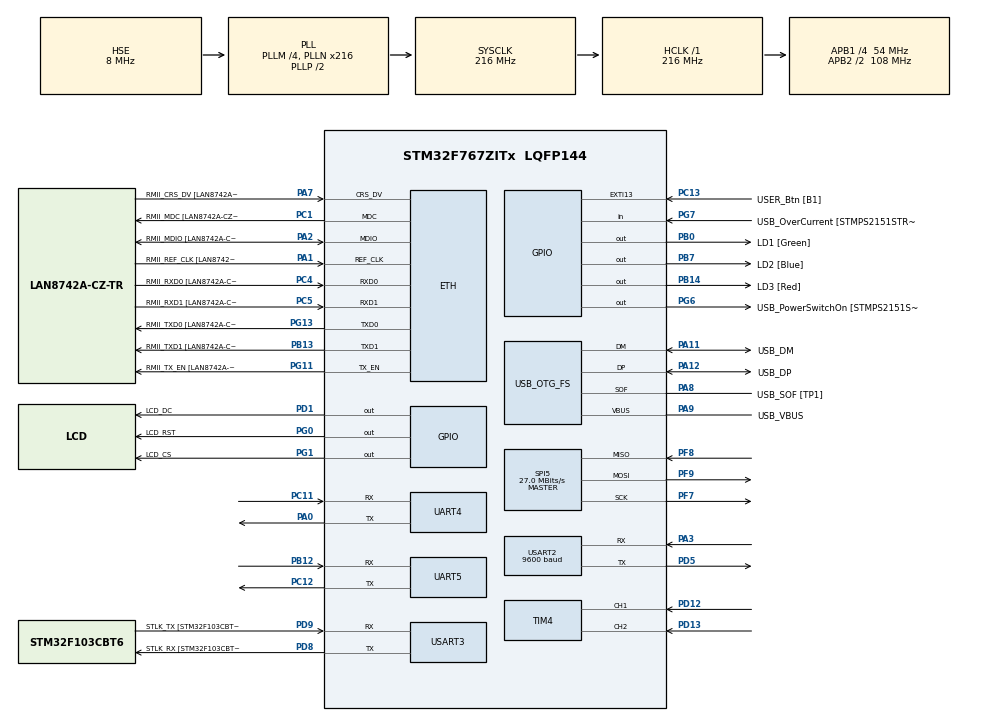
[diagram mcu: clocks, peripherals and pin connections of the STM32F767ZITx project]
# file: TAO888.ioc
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Dma.Request0=SPI5_TX
Dma.SPI5_TX.0.Direction=DMA_MEMORY_TO_PERIPH
Dma.SPI5_TX.0.FIFOMode=DMA_FIFOMODE_DISABLE
Dma.SPI5_TX.0.Instance=DMA2_Stream4
Dma.SPI5_TX.0.MemDataAlignment=DMA_MDATAALIGN_HALFWORD
Dma.SPI5_TX.0.MemInc=DMA_MINC_ENABLE
Dma.SPI5_TX.0.Mode=DMA_NORMAL
Dma.SPI5_TX.0.PeriphDataAlignment=DMA_PDATAALIGN_HALFWORD
Dma.SPI5_TX.0.PeriphInc=DMA_PINC_DISABLE
Dma.SPI5_TX.0.Priority=DMA_PRIORITY_LOW
ETH.MediaInterface=HAL_ETH_RMII_MODE
ETH.PHY_Name=LAN8742A_PHY_ADDRESS
ETH.PHY_Value=0
ETH.PhyAddress=0
Mcu.Family=STM32F7
Mcu.Name=STM32F767ZITx
Mcu.Package=LQFP144
NVIC.DMA2_Stream4_IRQn=true\:0\:0\:false\:false\:true\:false\:true\:true
NVIC.EXTI15_10_IRQn=true\:7\:0\:true\:false\:true\:true\:true\:true
NVIC.PriorityGroup=NVIC_PRIORITYGROUP_3
NVIC.SPI5_IRQn=true\:5\:0\:true\:false\:true\:true\:true\:true
NVIC.TIM2_IRQn=true\:2\:0\:true\:false\:true\:true\:true\:true
NVIC.TIM5_IRQn=true\:2\:0\:true\:false\:true\:true\:true\:true
NVIC.UART4_IRQn=true\:6\:0\:true\:false\:true\:true\:true\:true
NVIC.USART2_IRQn=true\:6\:0\:true\:false\:true\:true\:true\:true
NVIC.USART3_IRQn=true\:6\:0\:true\:false\:true\:true\:true\:true
PA0/WKUP.Mode=Asynchronous
PA0/WKUP.Signal=UART4_TX
PA1.GPIO_Label=RMII_REF_CLK [LAN8742A-CZ-TR_REFCLK0]
PA1.Mode=RMII
PA1.Signal=ETH_REF_CLK
PA10.GPIO_Label=USB_ID
PA10.Signal=USB_OTG_FS_ID
PA11.GPIO_Label=USB_DM
PA11.Mode=Device_Only
PA11.Signal=USB_OTG_FS_DM
PA12.GPIO_Label=USB_DP
PA12.Mode=Device_Only
PA12.Signal=USB_OTG_FS_DP
PA13.GPIO_Label=TMS
PA13.Mode=Serial_Wire
PA13.Signal=SYS_JTMS-SWDIO
PA14.GPIO_Label=TCK
PA14.Mode=Serial_Wire
PA14.Signal=SYS_JTCK-SWCLK
PA2.GPIO_Label=RMII_MDIO [LAN8742A-CZ-TR_MDIO]
PA2.Mode=RMII
PA2.Signal=ETH_MDIO
PA3.Mode=Asynchronous
PA3.Signal=USART2_RX
PA7.GPIO_Label=RMII_CRS_DV [LAN8742A-CZ-TR_CRS_DV]
PA7.Mode=RMII
PA7.Signal=ETH_CRS_DV
PA8.GPIO_Label=USB_SOF [TP1]
PA8.Mode=Activate_SOF_FS
PA8.Signal=USB_OTG_FS_SOF
PA9.GPIO_Label=USB_VBUS
PA9.Mode=Activate_VBUS
PA9.Signal=USB_OTG_FS_VBUS
PB0.GPIO_Label=LD1 [Green]
PB0.Signal=GPIO_Output
PB12.Mode=Asynchronous
PB12.Signal=UART5_RX
PB13.GPIO_Label=RMII_TXD1 [LAN8742A-CZ-TR_TXD1]
PB13.Mode=RMII
PB13.Signal=ETH_TXD1
PB14.GPIO_Label=LD3 [Red]
PB14.Signal=GPIO_Output
PB3.GPIO_Label=SWO
PB3.Signal=SYS_JTDO-SWO
PB7.GPIO_Label=LD2 [Blue]
PB7.Signal=GPIO_Output
PC1.GPIO_Label=RMII_MDC [LAN8742A-CZ-TR_MDC]
PC1.Mode=RMII
PC1.Signal=ETH_MDC
PC11.Mode=Asynchronous
PC11.Signal=UART4_RX
PC12.Mode=Asynchronous
PC12.Signal=UART5_TX
PC13.GPIO_Label=USER_Btn [B1]
PC13.Signal=GPXTI13
PC14/OSC32_IN.Mode=LSE-External-Oscillator
PC14/OSC32_IN.Signal=RCC_OSC32_IN
PC15/OSC32_OUT.Mode=LSE-External-Oscillator
PC15/OSC32_OUT.Signal=RCC_OSC32_OUT
PC4.GPIO_Label=RMII_RXD0 [LAN8742A-CZ-TR_RXD0]
PC4.Mode=RMII
PC4.Signal=ETH_RXD0
PC5.GPIO_Label=RMII_RXD1 [LAN8742A-CZ-TR_RXD1]
PC5.Mode=RMII
PC5.Signal=ETH_RXD1
PD1.GPIO_Label=LCD_DC
PD1.GPIO_Speed=GPIO_SPEED_FREQ_VERY_HIGH
PD1.Signal=GPIO_Output
PD12.Signal=S_TIM4_CH1
PD13.Signal=S_TIM4_CH2
PD5.Mode=Asynchronous
PD5.Signal=USART2_TX
PD8.GPIO_Label=STLK_RX [STM32F103CBT6_PA3]
PD8.Mode=Asynchronous
PD8.Signal=USART3_TX
PD9.GPIO_Label=STLK_TX [STM32F103CBT6_PA2]
PD9.Mode=Asynchronous
PD9.Signal=USART3_RX
PF7.Mode=Full_Duplex_Master
PF7.Signal=SPI5_SCK
PF8.Mode=Full_Duplex_Master
PF8.Signal=SPI5_MISO
PF9.Mode=Full_Duplex_Master
PF9.Signal=SPI5_MOSI
PG0.GPIO_Label=LCD_RST
PG0.GPIO_Speed=GPIO_SPEED_FREQ_VERY_HIGH
PG0.Signal=GPIO_Output
PG1.GPIO_Label=LCD_CS
PG1.GPIO_Speed=GPIO_SPEED_FREQ_VERY_HIGH
PG1.Signal=GPIO_Output
PG11.GPIO_Label=RMII_TX_EN [LAN8742A-CZ-TR_TXEN]
PG11.Mode=RMII
PG11.Signal=ETH_TX_EN
PG13.GPIO_Label=RMII_TXD0 [LAN8742A-CZ-TR_TXD0]
PG13.Mode=RMII
PG13.Signal=ETH_TXD0
PG6.GPIO_Label=USB_PowerSwitchOn [STMPS2151STR_EN]
PG6.Signal=GPIO_Output
PG7.GPIO_Label=USB_OverCurrent [STMPS2151STR_FAULT]
PG7.Signal=GPIO_Input
PH0/OSC_IN.GPIO_Label=MCO [STM32F103CBT6_PA8]
PH0/OSC_IN.Mode=HSE-External-Clock-Source
PH0/OSC_IN.Signal=RCC_OSC_IN
PH1/OSC_OUT.Mode=HSE-External-Clock-Source
PH1/OSC_OUT.Signal=RCC_OSC_OUT
ProjectManager.HeapSize=0x200
ProjectManager.StackSize=0x400
ProjectManager.TargetToolchain=CMake
RCC.48MHZClocksFreq_Value=24000000
RCC.AHBFreq_Value=216000000
RCC.APB1CLKDivider=RCC_HCLK_DIV4
RCC.APB1Freq_Value=54000000
RCC.APB1TimFreq_Value=108000000
RCC.APB2CLKDivider=RCC_HCLK_DIV2
RCC.APB2Freq_Value=108000000
RCC.APB2TimFreq_Value=216000000
RCC.CortexFreq_Value=216000000
RCC.HCLKFreq_Value=216000000
RCC.HSE_VALUE=8000000
RCC.HSI_VALUE=16000000
RCC.PLLM=4
RCC.PLLMUL=RCC_PLL_MUL9
RCC.PLLN=216
RCC.PLLQ=9
RCC.PRESCALERUSB=RCC_USBCLKSOURCE_PLL_DIV1_5
RCC.SYSCLKFreq_VALUE=216000000
RCC.SYSCLKSource=RCC_SYSCLKSOURCE_PLLCLK
RCC.SYSCLKSourceVirtual=RCC_SYSCLKSOURCE_PLLCLK
RCC.USBFreq_Value=48000000
RCC.VCOOutputFreq_Value=432000000
SH.S_TIM4_CH1.0=TIM4_CH1,Encoder_Interface
SH.S_TIM4_CH2.0=TIM4_CH2,Encoder_Interface
SPI5.BaudRatePrescaler=SPI_BAUDRATEPRESCALER_4
SPI5.CalculateBaudRate=27.0 MBits/s
SPI5.DataSize=SPI_DATASIZE_8BIT
SPI5.Direction=SPI_DIRECTION_2LINES
SPI5.Mode=SPI_MODE_MASTER
SPI5.VirtualType=VM_MASTER
TIM2.Period=0
TIM2.Prescaler=108 - 1
TIM5.Period=0
TIM5.Prescaler=108 - 1
USART2.BaudRate=9600
USART2.VirtualMode-Asynchronous=VM_ASYNC
USART3.VirtualMode-Asynchronous=VM_ASYNC
USB_OTG_FS.VirtualMode=Device_Only
VP_RNG_VS_RNG.Mode=RNG_Activate
VP_TIM2_VS_ClockSourceINT.Mode=Internal
VP_TIM5_VS_ClockSourceINT.Mode=Internal
board=NUCLEO-F767ZI

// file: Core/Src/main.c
/* USER CODE BEGIN Header */
/**
 ******************************************************************************
 * @file           : main.c
 * @brief          : Main program body
 ******************************************************************************
 * @attention
 *
 * Copyright (c) 2025 STMicroelectronics.
 * All rights reserved.
 *
 * This software is licensed under terms that can be found in the LICENSE file
 * in the root directory of this software component.
 * If no LICENSE file comes with this software, it is provided AS-IS.
 *
 ******************************************************************************
 */
/* USER CODE END Header */
#include "main.h"
#include "string.h"

/* USER CODE BEGIN Includes */

#include <stdarg.h>
#include <queue.h>
#include <stdbool.h>
#include <stdint.h>

#include "ili9341.h"
#include "ili9341_fonts.h"

#include "serialUtils.h"
#include "frameBuffer.h"
#include "images.h"
#include "queue.h"
#include "slotCols.h"
#include "slotSymbols.h"
#include "slotMachine.h"

/* USER CODE END Includes */

#if defined ( __ICCARM__ ) /*!< IAR Compiler */
#pragma location=0x2007c000
ETH_DMADescTypeDef  DMARxDscrTab[ETH_RX_DESC_CNT]; /* Ethernet Rx DMA Descriptors */
#pragma location=0x2007c0a0
ETH_DMADescTypeDef  DMATxDscrTab[ETH_TX_DESC_CNT]; /* Ethernet Tx DMA Descriptors */

#elif defined ( __CC_ARM )  /* MDK ARM Compiler */

__attribute__((at(0x2007c000))) ETH_DMADescTypeDef  DMARxDscrTab[ETH_RX_DESC_CNT]; /* Ethernet Rx DMA Descriptors */
__attribute__((at(0x2007c0a0))) ETH_DMADescTypeDef  DMATxDscrTab[ETH_TX_DESC_CNT]; /* Ethernet Tx DMA Descriptors */

#elif defined ( __GNUC__ ) /* GNU Compiler */

ETH_DMADescTypeDef DMARxDscrTab[ETH_RX_DESC_CNT] __attribute__((section(".RxDecripSection"))); /* Ethernet Rx DMA Descriptors */
ETH_DMADescTypeDef DMATxDscrTab[ETH_TX_DESC_CNT] __attribute__((section(".TxDecripSection")));   /* Ethernet Tx DMA Descriptors */
#endif

ETH_TxPacketConfig TxConfig;

ETH_HandleTypeDef heth;

RNG_HandleTypeDef hrng;

SPI_HandleTypeDef hspi5;
DMA_HandleTypeDef hdma_spi5_tx;

TIM_HandleTypeDef htim2;
TIM_HandleTypeDef htim4;
TIM_HandleTypeDef htim5;

UART_HandleTypeDef huart4;
UART_HandleTypeDef huart5;
UART_HandleTypeDef huart2;
UART_HandleTypeDef huart3;

PCD_HandleTypeDef hpcd_USB_OTG_FS;

/* USER CODE BEGIN PV */

volatile bool spi5Transferable = true;

uint8_t coinUartBuffer;
uint8_t computerUartBuffer;

/* USER CODE END PV */

void SystemClock_Config(void);
static void MX_GPIO_Init(void);
static void MX_DMA_Init(void);
static void MX_ETH_Init(void);
static void MX_USART3_UART_Init(void);
static void MX_USB_OTG_FS_PCD_Init(void);
static void MX_SPI5_Init(void);
static void MX_RNG_Init(void);
static void MX_TIM2_Init(void);
static void MX_UART4_Init(void);
static void MX_UART5_Init(void);
static void MX_TIM4_Init(void);
static void MX_USART2_UART_Init(void);
static void MX_TIM5_Init(void);

int main(void)
{

  /* MCU Configuration--------------------------------------------------------*/

  /* Reset of all peripherals, Initializes the Flash interface and the Systick. */
  HAL_Init();

  /* Configure the system clock */
  SystemClock_Config();

  /* Initialize all configured peripherals */
  MX_GPIO_Init();
  MX_DMA_Init();
  MX_ETH_Init();
  MX_USART3_UART_Init();
  MX_USB_OTG_FS_PCD_Init();
  MX_SPI5_Init();
  MX_RNG_Init();
  MX_TIM2_Init();
  MX_UART4_Init();
  MX_UART5_Init();
  MX_TIM4_Init();
  MX_USART2_UART_Init();
  MX_TIM5_Init();
  /* USER CODE BEGIN 2 */

  HAL_TIM_Base_Init(&htim2);
  HAL_TIM_Base_Stop_IT(&htim2);

  HAL_TIM_Encoder_Start(&htim4, TIM_CHANNEL_ALL);

  HAL_UART_Receive_IT(&AUX_COIN_UART_HANDLE, &coinUartBuffer, sizeof(coinUartBuffer));
  HAL_UART_Receive_IT(&DEBUG_CONSOLE_UART_HANDLE, &computerUartBuffer, sizeof(computerUartBuffer));

  ILI9341_HandleTypeDef lcd =
      ILI9341_Init(&hspi5, LCD_CS_GPIO_Port, LCD_CS_Pin, LCD_DC_GPIO_Port,
                   LCD_DC_Pin, LCD_RST_GPIO_Port, LCD_RST_Pin,
                   ILI9341_ROTATION_HORIZONTAL_1, LCD_WIDTH, LCD_HEIGHT);

  TAO888_SlotMachine_Init(&lcd);

  Serial_Debug_Printf("initialized and ready!\r\n");

  /* USER CODE END 2 */

  /* Infinite loop */
  while (1) {

    /* USER CODE BEGIN 3 */

    TAO888_SlotMachine_PollRotaryEncoderAndStart(TIM4);
    TAO888_SlotMachine_Update(&lcd);

    // Serial_Printf("Encoder counter = %d\r\n", (int16_t)TIM4->CNT);

    // HAL_Delay(500);
  }
  /* USER CODE END 3 */
}

void SystemClock_Config(void)
{
  RCC_OscInitTypeDef RCC_OscInitStruct = {0};
  RCC_ClkInitTypeDef RCC_ClkInitStruct = {0};

  /** Configure LSE Drive Capability
  */
  HAL_PWR_EnableBkUpAccess();

  /** Configure the main internal regulator output voltage
  */
  __HAL_RCC_PWR_CLK_ENABLE();
  __HAL_PWR_VOLTAGESCALING_CONFIG(PWR_REGULATOR_VOLTAGE_SCALE1);

  /** Initializes the RCC Oscillators according to the specified parameters
  * in the RCC_OscInitTypeDef structure.
  */
  RCC_OscInitStruct.OscillatorType = RCC_OSCILLATORTYPE_HSE;
  RCC_OscInitStruct.HSEState = RCC_HSE_BYPASS;
  RCC_OscInitStruct.PLL.PLLState = RCC_PLL_ON;
  RCC_OscInitStruct.PLL.PLLSource = RCC_PLLSOURCE_HSE;
  RCC_OscInitStruct.PLL.PLLM = 4;
  RCC_OscInitStruct.PLL.PLLN = 216;
  RCC_OscInitStruct.PLL.PLLP = RCC_PLLP_DIV2;
  RCC_OscInitStruct.PLL.PLLQ = 9;
  RCC_OscInitStruct.PLL.PLLR = 2;
  if (HAL_RCC_OscConfig(&RCC_OscInitStruct) != HAL_OK)
  {
    Error_Handler();
  }

  /** Activate the Over-Drive mode
  */
  if (HAL_PWREx_EnableOverDrive() != HAL_OK)
  {
    Error_Handler();
  }

  /** Initializes the CPU, AHB and APB buses clocks
  */
  RCC_ClkInitStruct.ClockType = RCC_CLOCKTYPE_HCLK|RCC_CLOCKTYPE_SYSCLK
                              |RCC_CLOCKTYPE_PCLK1|RCC_CLOCKTYPE_PCLK2;
  RCC_ClkInitStruct.SYSCLKSource = RCC_SYSCLKSOURCE_PLLCLK;
  RCC_ClkInitStruct.AHBCLKDivider = RCC_SYSCLK_DIV1;
  RCC_ClkInitStruct.APB1CLKDivider = RCC_HCLK_DIV4;
  RCC_ClkInitStruct.APB2CLKDivider = RCC_HCLK_DIV2;

  if (HAL_RCC_ClockConfig(&RCC_ClkInitStruct, FLASH_LATENCY_7) != HAL_OK)
  {
    Error_Handler();
  }
}

static void MX_ETH_Init(void)
{

   static uint8_t MACAddr[6];

  heth.Instance = ETH;
  MACAddr[0] = 0x00;
  MACAddr[1] = 0x80;
  MACAddr[2] = 0xE1;
  MACAddr[3] = 0x00;
  MACAddr[4] = 0x00;
  MACAddr[5] = 0x00;
  heth.Init.MACAddr = &MACAddr[0];
  heth.Init.MediaInterface = HAL_ETH_RMII_MODE;
  heth.Init.TxDesc = DMATxDscrTab;
  heth.Init.RxDesc = DMARxDscrTab;
  heth.Init.RxBuffLen = 1524;

  if (HAL_ETH_Init(&heth) != HAL_OK)
  {
    Error_Handler();
  }

  memset(&TxConfig, 0 , sizeof(ETH_TxPacketConfig));
  TxConfig.Attributes = ETH_TX_PACKETS_FEATURES_CSUM | ETH_TX_PACKETS_FEATURES_CRCPAD;
  TxConfig.ChecksumCtrl = ETH_CHECKSUM_IPHDR_PAYLOAD_INSERT_PHDR_CALC;
  TxConfig.CRCPadCtrl = ETH_CRC_PAD_INSERT;

}

static void MX_RNG_Init(void)
{

  hrng.Instance = RNG;
  if (HAL_RNG_Init(&hrng) != HAL_OK)
  {
    Error_Handler();
  }

}

static void MX_SPI5_Init(void)
{

  /* SPI5 parameter configuration*/
  hspi5.Instance = SPI5;
  hspi5.Init.Mode = SPI_MODE_MASTER;
  hspi5.Init.Direction = SPI_DIRECTION_2LINES;
  hspi5.Init.DataSize = SPI_DATASIZE_8BIT;
  hspi5.Init.CLKPolarity = SPI_POLARITY_LOW;
  hspi5.Init.CLKPhase = SPI_PHASE_1EDGE;
  hspi5.Init.NSS = SPI_NSS_SOFT;
  hspi5.Init.BaudRatePrescaler = SPI_BAUDRATEPRESCALER_4;
  hspi5.Init.FirstBit = SPI_FIRSTBIT_MSB;
  hspi5.Init.TIMode = SPI_TIMODE_DISABLE;
  hspi5.Init.CRCCalculation = SPI_CRCCALCULATION_DISABLE;
  hspi5.Init.CRCPolynomial = 7;
  hspi5.Init.CRCLength = SPI_CRC_LENGTH_DATASIZE;
  hspi5.Init.NSSPMode = SPI_NSS_PULSE_ENABLE;
  if (HAL_SPI_Init(&hspi5) != HAL_OK)
  {
    Error_Handler();
  }

}

static void MX_TIM2_Init(void)
{

  TIM_ClockConfigTypeDef sClockSourceConfig = {0};
  TIM_MasterConfigTypeDef sMasterConfig = {0};

  htim2.Instance = TIM2;
  htim2.Init.Prescaler = 108 - 1;
  htim2.Init.CounterMode = TIM_COUNTERMODE_UP;
  htim2.Init.Period = 0;
  htim2.Init.ClockDivision = TIM_CLOCKDIVISION_DIV1;
  htim2.Init.AutoReloadPreload = TIM_AUTORELOAD_PRELOAD_DISABLE;
  if (HAL_TIM_Base_Init(&htim2) != HAL_OK)
  {
    Error_Handler();
  }
  sClockSourceConfig.ClockSource = TIM_CLOCKSOURCE_INTERNAL;
  if (HAL_TIM_ConfigClockSource(&htim2, &sClockSourceConfig) != HAL_OK)
  {
    Error_Handler();
  }
  sMasterConfig.MasterOutputTrigger = TIM_TRGO_RESET;
  sMasterConfig.MasterSlaveMode = TIM_MASTERSLAVEMODE_DISABLE;
  if (HAL_TIMEx_MasterConfigSynchronization(&htim2, &sMasterConfig) != HAL_OK)
  {
    Error_Handler();
  }

}

static void MX_TIM4_Init(void)
{

  TIM_Encoder_InitTypeDef sConfig = {0};
  TIM_MasterConfigTypeDef sMasterConfig = {0};

  htim4.Instance = TIM4;
  htim4.Init.Prescaler = 0;
  htim4.Init.CounterMode = TIM_COUNTERMODE_UP;
  htim4.Init.Period = 65535;
  htim4.Init.ClockDivision = TIM_CLOCKDIVISION_DIV1;
  htim4.Init.AutoReloadPreload = TIM_AUTORELOAD_PRELOAD_DISABLE;
  sConfig.EncoderMode = TIM_ENCODERMODE_TI1;
  sConfig.IC1Polarity = TIM_ICPOLARITY_RISING;
  sConfig.IC1Selection = TIM_ICSELECTION_DIRECTTI;
  sConfig.IC1Prescaler = TIM_ICPSC_DIV1;
  sConfig.IC1Filter = 0;
  sConfig.IC2Polarity = TIM_ICPOLARITY_RISING;
  sConfig.IC2Selection = TIM_ICSELECTION_DIRECTTI;
  sConfig.IC2Prescaler = TIM_ICPSC_DIV1;
  sConfig.IC2Filter = 0;
  if (HAL_TIM_Encoder_Init(&htim4, &sConfig) != HAL_OK)
  {
    Error_Handler();
  }
  sMasterConfig.MasterOutputTrigger = TIM_TRGO_RESET;
  sMasterConfig.MasterSlaveMode = TIM_MASTERSLAVEMODE_DISABLE;
  if (HAL_TIMEx_MasterConfigSynchronization(&htim4, &sMasterConfig) != HAL_OK)
  {
    Error_Handler();
  }

}

static void MX_TIM5_Init(void)
{

  TIM_ClockConfigTypeDef sClockSourceConfig = {0};
  TIM_MasterConfigTypeDef sMasterConfig = {0};

  htim5.Instance = TIM5;
  htim5.Init.Prescaler = 108 - 1;
  htim5.Init.CounterMode = TIM_COUNTERMODE_UP;
  htim5.Init.Period = 0;
  htim5.Init.ClockDivision = TIM_CLOCKDIVISION_DIV1;
  htim5.Init.AutoReloadPreload = TIM_AUTORELOAD_PRELOAD_DISABLE;
  if (HAL_TIM_Base_Init(&htim5) != HAL_OK)
  {
    Error_Handler();
  }
  sClockSourceConfig.ClockSource = TIM_CLOCKSOURCE_INTERNAL;
  if (HAL_TIM_ConfigClockSource(&htim5, &sClockSourceConfig) != HAL_OK)
  {
    Error_Handler();
  }
  sMasterConfig.MasterOutputTrigger = TIM_TRGO_RESET;
  sMasterConfig.MasterSlaveMode = TIM_MASTERSLAVEMODE_DISABLE;
  if (HAL_TIMEx_MasterConfigSynchronization(&htim5, &sMasterConfig) != HAL_OK)
  {
    Error_Handler();
  }

}

static void MX_UART4_Init(void)
{

  huart4.Instance = UART4;
  huart4.Init.BaudRate = 115200;
  huart4.Init.WordLength = UART_WORDLENGTH_8B;
  huart4.Init.StopBits = UART_STOPBITS_1;
  huart4.Init.Parity = UART_PARITY_NONE;
  huart4.Init.Mode = UART_MODE_TX_RX;
  huart4.Init.HwFlowCtl = UART_HWCONTROL_NONE;
  huart4.Init.OverSampling = UART_OVERSAMPLING_16;
  huart4.Init.OneBitSampling = UART_ONE_BIT_SAMPLE_DISABLE;
  huart4.AdvancedInit.AdvFeatureInit = UART_ADVFEATURE_NO_INIT;
  if (HAL_UART_Init(&huart4) != HAL_OK)
  {
    Error_Handler();
  }

}

static void MX_UART5_Init(void)
{

  huart5.Instance = UART5;
  huart5.Init.BaudRate = 115200;
  huart5.Init.WordLength = UART_WORDLENGTH_8B;
  huart5.Init.StopBits = UART_STOPBITS_1;
  huart5.Init.Parity = UART_PARITY_NONE;
  huart5.Init.Mode = UART_MODE_TX_RX;
  huart5.Init.HwFlowCtl = UART_HWCONTROL_NONE;
  huart5.Init.OverSampling = UART_OVERSAMPLING_16;
  huart5.Init.OneBitSampling = UART_ONE_BIT_SAMPLE_DISABLE;
  huart5.AdvancedInit.AdvFeatureInit = UART_ADVFEATURE_NO_INIT;
  if (HAL_UART_Init(&huart5) != HAL_OK)
  {
    Error_Handler();
  }

}

static void MX_USART2_UART_Init(void)
{

  huart2.Instance = USART2;
  huart2.Init.BaudRate = 9600;
  huart2.Init.WordLength = UART_WORDLENGTH_8B;
  huart2.Init.StopBits = UART_STOPBITS_1;
  huart2.Init.Parity = UART_PARITY_NONE;
  huart2.Init.Mode = UART_MODE_TX_RX;
  huart2.Init.HwFlowCtl = UART_HWCONTROL_NONE;
  huart2.Init.OverSampling = UART_OVERSAMPLING_16;
  huart2.Init.OneBitSampling = UART_ONE_BIT_SAMPLE_DISABLE;
  huart2.AdvancedInit.AdvFeatureInit = UART_ADVFEATURE_NO_INIT;
  if (HAL_UART_Init(&huart2) != HAL_OK)
  {
    Error_Handler();
  }

}

static void MX_USART3_UART_Init(void)
{

  huart3.Instance = USART3;
  huart3.Init.BaudRate = 115200;
  huart3.Init.WordLength = UART_WORDLENGTH_8B;
  huart3.Init.StopBits = UART_STOPBITS_1;
  huart3.Init.Parity = UART_PARITY_NONE;
  huart3.Init.Mode = UART_MODE_TX_RX;
  huart3.Init.HwFlowCtl = UART_HWCONTROL_NONE;
  huart3.Init.OverSampling = UART_OVERSAMPLING_16;
  huart3.Init.OneBitSampling = UART_ONE_BIT_SAMPLE_DISABLE;
  huart3.AdvancedInit.AdvFeatureInit = UART_ADVFEATURE_NO_INIT;
  if (HAL_UART_Init(&huart3) != HAL_OK)
  {
    Error_Handler();
  }

}

static void MX_USB_OTG_FS_PCD_Init(void)
{

  hpcd_USB_OTG_FS.Instance = USB_OTG_FS;
  hpcd_USB_OTG_FS.Init.dev_endpoints = 6;
  hpcd_USB_OTG_FS.Init.speed = PCD_SPEED_FULL;
  hpcd_USB_OTG_FS.Init.dma_enable = DISABLE;
  hpcd_USB_OTG_FS.Init.phy_itface = PCD_PHY_EMBEDDED;
  hpcd_USB_OTG_FS.Init.Sof_enable = ENABLE;
  hpcd_USB_OTG_FS.Init.low_power_enable = DISABLE;
  hpcd_USB_OTG_FS.Init.lpm_enable = DISABLE;
  hpcd_USB_OTG_FS.Init.vbus_sensing_enable = ENABLE;
  hpcd_USB_OTG_FS.Init.use_dedicated_ep1 = DISABLE;
  if (HAL_PCD_Init(&hpcd_USB_OTG_FS) != HAL_OK)
  {
    Error_Handler();
  }

}

static void MX_DMA_Init(void)
{

  /* DMA controller clock enable */
  __HAL_RCC_DMA2_CLK_ENABLE();

  /* DMA interrupt init */
  /* DMA2_Stream4_IRQn interrupt configuration */
  HAL_NVIC_SetPriority(DMA2_Stream4_IRQn, 0, 0);
  HAL_NVIC_EnableIRQ(DMA2_Stream4_IRQn);

}

static void MX_GPIO_Init(void)
{
  GPIO_InitTypeDef GPIO_InitStruct = {0};

  /* GPIO Ports Clock Enable */
  __HAL_RCC_GPIOC_CLK_ENABLE();
  __HAL_RCC_GPIOF_CLK_ENABLE();
  __HAL_RCC_GPIOH_CLK_ENABLE();
  __HAL_RCC_GPIOA_CLK_ENABLE();
  __HAL_RCC_GPIOB_CLK_ENABLE();
  __HAL_RCC_GPIOG_CLK_ENABLE();
  __HAL_RCC_GPIOD_CLK_ENABLE();

  /*Configure GPIO pin Output Level */
  HAL_GPIO_WritePin(GPIOB, LD1_Pin|LD3_Pin|LD2_Pin, GPIO_PIN_RESET);

  /*Configure GPIO pin Output Level */
  HAL_GPIO_WritePin(GPIOG, LCD_RST_Pin|LCD_CS_Pin|USB_PowerSwitchOn_Pin, GPIO_PIN_RESET);

  /*Configure GPIO pin Output Level */
  HAL_GPIO_WritePin(LCD_DC_GPIO_Port, LCD_DC_Pin, GPIO_PIN_RESET);

  /*Configure GPIO pin : USER_Btn_Pin */
  GPIO_InitStruct.Pin = USER_Btn_Pin;
  GPIO_InitStruct.Mode = GPIO_MODE_IT_RISING;
  GPIO_InitStruct.Pull = GPIO_NOPULL;
  HAL_GPIO_Init(USER_Btn_GPIO_Port, &GPIO_InitStruct);

  /*Configure GPIO pins : LD1_Pin LD3_Pin LD2_Pin */
  GPIO_InitStruct.Pin = LD1_Pin|LD3_Pin|LD2_Pin;
  GPIO_InitStruct.Mode = GPIO_MODE_OUTPUT_PP;
  GPIO_InitStruct.Pull = GPIO_NOPULL;
  GPIO_InitStruct.Speed = GPIO_SPEED_FREQ_LOW;
  HAL_GPIO_Init(GPIOB, &GPIO_InitStruct);

  /*Configure GPIO pins : LCD_RST_Pin LCD_CS_Pin */
  GPIO_InitStruct.Pin = LCD_RST_Pin|LCD_CS_Pin;
  GPIO_InitStruct.Mode = GPIO_MODE_OUTPUT_PP;
  GPIO_InitStruct.Pull = GPIO_NOPULL;
  GPIO_InitStruct.Speed = GPIO_SPEED_FREQ_VERY_HIGH;
  HAL_GPIO_Init(GPIOG, &GPIO_InitStruct);

  /*Configure GPIO pin : USB_PowerSwitchOn_Pin */
  GPIO_InitStruct.Pin = USB_PowerSwitchOn_Pin;
  GPIO_InitStruct.Mode = GPIO_MODE_OUTPUT_PP;
  GPIO_InitStruct.Pull = GPIO_NOPULL;
  GPIO_InitStruct.Speed = GPIO_SPEED_FREQ_LOW;
  HAL_GPIO_Init(USB_PowerSwitchOn_GPIO_Port, &GPIO_InitStruct);

  /*Configure GPIO pin : USB_OverCurrent_Pin */
  GPIO_InitStruct.Pin = USB_OverCurrent_Pin;
  GPIO_InitStruct.Mode = GPIO_MODE_INPUT;
  GPIO_InitStruct.Pull = GPIO_NOPULL;
  HAL_GPIO_Init(USB_OverCurrent_GPIO_Port, &GPIO_InitStruct);

  /*Configure GPIO pin : LCD_DC_Pin */
  GPIO_InitStruct.Pin = LCD_DC_Pin;
  GPIO_InitStruct.Mode = GPIO_MODE_OUTPUT_PP;
  GPIO_InitStruct.Pull = GPIO_NOPULL;
  GPIO_InitStruct.Speed = GPIO_SPEED_FREQ_VERY_HIGH;
  HAL_GPIO_Init(LCD_DC_GPIO_Port, &GPIO_InitStruct);

  /* EXTI interrupt init*/
  HAL_NVIC_SetPriority(EXTI15_10_IRQn, 7, 0);
  HAL_NVIC_EnableIRQ(EXTI15_10_IRQn);

}

/* USER CODE BEGIN 4 */

void HAL_GPIO_EXTI_Callback(uint16_t GPIO_Pin) {
  // EXTI interrupts callback
  if (GPIO_Pin == GPIO_PIN_2) {
    Serial_Debug_Println("Received interrupt from EXTI-2");
  } else if (GPIO_Pin == GPIO_PIN_3) {
    Serial_Debug_Println("Received interrupt from EXTI-3");
  } else if (GPIO_Pin == GPIO_PIN_9) {
    Serial_Debug_Println("Received interrupt from Button-1");
  } else if (GPIO_Pin == GPIO_PIN_10) {
    Serial_Debug_Println("Received interrupt from Button-2");
  } else if (GPIO_Pin == GPIO_PIN_11) {
    Serial_Debug_Println("Received interrupt from Button-3");
  } else if (GPIO_Pin == GPIO_PIN_12) {
    Serial_Debug_Println("Received interrupt from Button-4");
  } else if (GPIO_Pin == GPIO_PIN_13) {
    // Serial_Debug_Println("Received interrupt from B1");
    // TAO888_SlotMachine_StartCycle();
  }
}

void HAL_UART_RxCpltCallback(UART_HandleTypeDef *huart) {
  Serial_Debug_Printf("uart received something\r\n", coinUartBuffer);
  if (huart == &AUX_COIN_UART_HANDLE && coinUartBuffer != 0) {
    Serial_Debug_Printf("coinUartBuffer = %x\r\n", coinUartBuffer);
    if (coinUartBuffer == COIN_COMMAND_ADD_COIN) {
      TAO888_SlotMachine_IncrementCredits(10);
    }
    HAL_UART_Receive_IT(&AUX_COIN_UART_HANDLE, &coinUartBuffer, sizeof(coinUartBuffer));
  } else if (huart == &DEBUG_CONSOLE_UART_HANDLE) {
    if (computerUartBuffer == ADMIN_COMMAND_ADD_COIN) {
      TAO888_SlotMachine_IncrementCredits(10);
    } else if (computerUartBuffer == ADMIN_COMMAND_STOP_MUSIC) {
      HAL_UART_Transmit(&AUX_MUSIC_UART_HANDLE, 0x00, 1, AUX_UART_TIMEOUT);
    } else if (computerUartBuffer == ADMIN_COMMAND_RESET_CREDIT) {
      TAO888_SlotMachine_ResetCredits();
    } else if (computerUartBuffer >= '1' && computerUartBuffer <= '9') {
      TAO888_SlotMachine_SendCommandToAux(&AUX_COIN_UART_HANDLE, computerUartBuffer - '0');
    }
    HAL_UART_Receive_IT(&DEBUG_CONSOLE_UART_HANDLE, &computerUartBuffer, sizeof(computerUartBuffer));
  }
}

void HAL_TIM_PeriodElapsedCallback(TIM_HandleTypeDef *htim) {
  if (htim == &SLOT_STATE_TRANSITION_NS_TIMER) {
    TAO888_SlotMachine_AdvanceStateGracefully();
    HAL_TIM_Base_Stop_IT(&SLOT_STATE_TRANSITION_NS_TIMER);
  } else if (htim == &SLOT_MUSIC_RECOVERY_NS_TIMER) {
    TAO888_SlotMachine_RecoverMusic();
    HAL_TIM_Base_Stop_IT(&SLOT_MUSIC_RECOVERY_NS_TIMER);
  }
}

void HAL_SPI_TxCpltCallback(SPI_HandleTypeDef *hspi) {
  if (hspi == &hspi5) {
    HAL_UART_Transmit(&DEBUG_CONSOLE_UART_HANDLE, (uint8_t *)"TxCompleted\r\n", 14, 50);
    spi5Transferable = true;
  }
}

void HAL_SPI_ErrorCallback(SPI_HandleTypeDef *hspi) {
  // if (hspi == &hspi5) {
  //   spi5Transferable = false;
  // }
}

/* USER CODE END 4 */

void Error_Handler(void)
{
  __disable_irq();
  while (1) {
  }
}
#ifdef USE_FULL_ASSERT
/**
  * @brief  Reports the name of the source file and the source line number
  *         where the assert_param error has occurred.
  * @param  file: pointer to the source file name
  * @param  line: assert_param error line source number
  * @retval None
  */
void assert_failed(uint8_t *file, uint32_t line)
{
  /* USER CODE BEGIN 6 */
  /* User can add his own implementation to report the file name and line
     number, ex: printf("Wrong parameters value: file %s on line %d\r\n", file,
     line) */
  /* USER CODE END 6 */
}
#endif /* USE_FULL_ASSERT */
